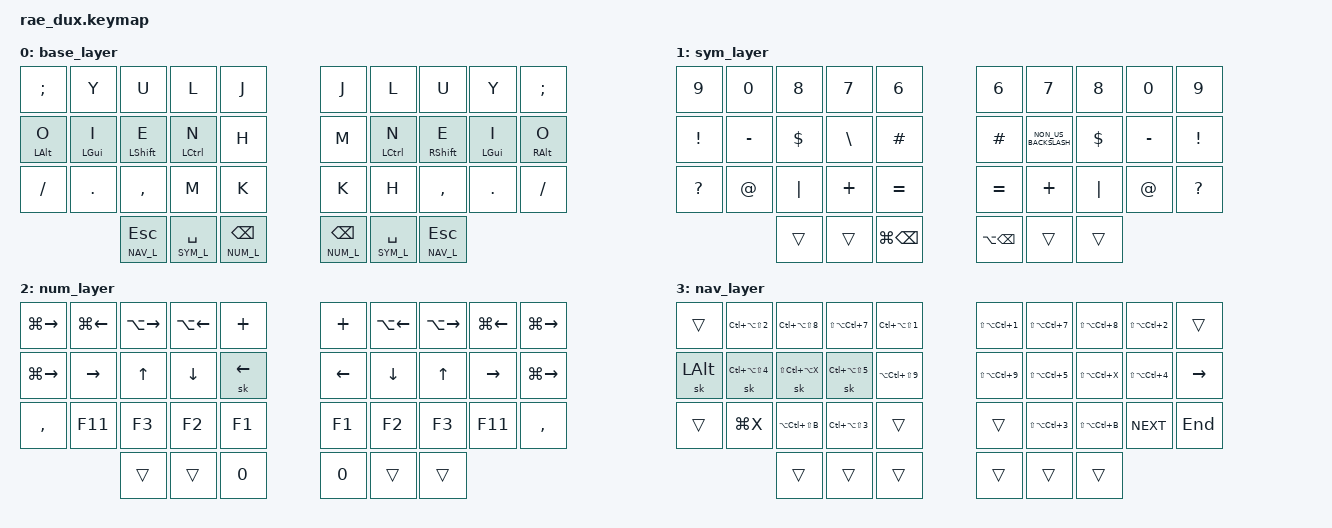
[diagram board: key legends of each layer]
/*
 * Copyright (c) 2021 The ZMK Contributors
 *
 * SPDX-License-Identifier: MIT
 */

#include <behaviors.dtsi>
#include <dt-bindings/zmk/keys.h>

&sk { quick-release; };

&caps_word { continue-list = <UNDERSCORE MINUS BSPC>; };

#define BASE_L  0
#define SYM_L   1
#define NUM_L   2
#define NAV_L   3
#define CUT   LG(X)
#define COPY  LG(C)
#define PASTE LG(V)

/ {
    macros {
        scope: scope {
            compatible = "zmk,behavior-macro";
            label = "SCOPE";
            #binding-cells = <0>;
            bindings = <&kp COLON &kp COLON>;
        };

        lambda: lambda {
            compatible = "zmk,behavior-macro";
            label = "LAMBDA";
            #binding-cells = <0>;
            bindings = <&kp L &kp A &kp M &kp B &kp D &kp A>;
        };
    };

    behaviors {
        lhm: left_hand_positional_hold_tap {
            compatible = "zmk,behavior-hold-tap";
            label = "LEFT_POSITIONAL_HOLD_TAP";
            #binding-cells = <2>;
            flavor = "tap-preferred";
            tapping-term-ms = <200>;
            quick-tap-ms = <200>;
            bindings = <&kp>, <&kp>;

            // hold-trigger-key-positions = <5 6 7 8 9 15 16 17 18 19 25 26 27 28 29 30 31 32 33 34 35>;

            hold-trigger-key-positions = <5 6 7 8 9 10 11 12 13 15 16 17 18 19 25 26 27 28 29 30 31 32 33 34 35>;
        };

        rhm: right_hand_positional_hold_tap {
            compatible = "zmk,behavior-hold-tap";
            label = "RIGHT_POSITIONAL_HOLD_TAP";
            #binding-cells = <2>;
            flavor = "tap-preferred";
            tapping-term-ms = <200>;
            quick-tap-ms = <200>;
            bindings = <&kp>, <&kp>;

            // hold-trigger-key-positions = <0 1 2 3 4 10 11 12 13 14 20 21 22 23 24 30 31 32 33 34 35>;

            hold-trigger-key-positions = <0 1 2 3 4 10 11 12 13 14 16 17 18 19 20 21 22 23 24 30 31 32 33 34 35>;
        };

        base_lt: base_layer_hold_tap {
            compatible = "zmk,behavior-hold-tap";
            label = "BASE_LAYER_HOLD_TAP";
            #binding-cells = <2>;
            flavor = "tap-preferred";
            tapping-term-ms = <200>;
            quick-tap-ms = <200>;
            bindings = <&mo>, <&kp>;
        };

        rpt_lt: repeat_hold_tap {
            compatible = "zmk,behavior-hold-tap";
            label = "REPEAT_HOLD_TAP";
            #binding-cells = <2>;
            flavor = "tap-preferred";
            tapping-term-ms = <200>;
            quick-tap-ms = <200>;
            bindings = <&mo>, <&key_repeat>;
        };
    };

    keymap {
        compatible = "zmk,keymap";

        base_layer {
            bindings = <
&kp SEMICOLON  &kp Y        &kp U                  &kp L                 &kp J                     &kp J                     &kp L                 &kp U                  &kp Y        &kp SEMI
&lhm LALT O    &lhm LGUI I  &lhm LSHFT E           &lhm LCTRL N          &kp H                     &kp M                     &rhm LCTRL N          &rhm RSHFT E           &rhm LGUI I  &rhm RALT O
&kp SLASH      &kp PERIOD   &kp COMMA              &kp M                 &kp K                     &kp K                     &kp H                 &kp COMMA              &kp DOT      &kp FSLH
                            &base_lt NAV_L ESCAPE  &base_lt SYM_L SPACE  &base_lt NUM_L BACKSPACE  &base_lt NUM_L BACKSPACE  &base_lt SYM_L SPACE  &base_lt NAV_L ESCAPE
            >;
        };

        sym_layer {
            bindings = <
&kp N9        &kp N0     &kp N8      &kp N7         &kp NUMBER_6       &kp NUMBER_6       &kp N7                &kp N8      &kp N0       &kp N9
&kp EXCL      &kp MINUS  &kp DOLLAR  &kp BACKSLASH  &kp HASH           &kp HASH           &kp NON_US_BACKSLASH  &kp DOLLAR  &kp MINUS    &kp EXCLAMATION
&kp QUESTION  &kp AT     &kp PIPE    &kp PLUS       &kp EQUAL          &kp EQUAL          &kp PLUS              &kp PIPE    &kp AT_SIGN  &kp QMARK
                         &trans      &trans         &kp LG(BACKSPACE)  &kp LA(BACKSPACE)  &trans                &trans
            >;
        };

        num_layer {
            bindings = <
&kp LG(RIGHT)  &kp LG(LEFT)  &kp LA(RIGHT)  &kp LA(LEFT_ARROW)  &kp PLUS        &kp PLUS  &kp LA(LEFT)  &kp LA(RIGHT)  &kp LG(LEFT)  &kp LG(RIGHT)
&kp LG(RIGHT)  &kp RIGHT     &kp UP_ARROW   &kp DOWN            &sk LEFT_ARROW  &kp LEFT  &kp DOWN      &kp UP         &kp RIGHT     &kp LG(RIGHT)
&kp COMMA      &kp F11       &kp F3         &kp F2              &kp F1          &kp F1    &kp F2        &kp F3         &kp F11       &kp COMMA
                             &trans         &trans              &kp N0          &kp N0    &trans        &trans
            >;
        };

        nav_layer {
            bindings = <
&trans    &kp LC(LA(LS(NUMBER_2)))  &kp LC(LA(LS(N8)))  &kp LS(LA(LC(N7)))        &kp LC(LA(LS(NUMBER_1)))  &kp LS(LA(LC(NUMBER_1)))  &kp LS(LA(LC(N7)))        &kp LS(LA(LC(N8)))  &kp LS(LA(LC(NUMBER_2)))  &trans
&sk LALT  &sk LC(LA(LS(NUMBER_4)))  &sk LS(LC(LA(X)))   &sk LC(LA(LS(N5)))        &kp LA(LC(LS(N9)))        &kp LS(LA(LC(N9)))        &kp LS(LA(LC(N5)))        &kp LS(LA(LC(X)))   &kp LS(LA(LC(NUMBER_4)))  &kp RIGHT
&trans    &kp CUT                   &kp LA(LC(LS(B)))   &kp LC(LA(LS(NUMBER_3)))  &trans                    &trans                    &kp LS(LA(LC(NUMBER_3)))  &kp LS(LA(LC(B)))   &kp K_NEXT                &kp END
                                    &trans              &trans                    &trans                    &trans                    &trans                    &trans
            >;
        };
    };
};
